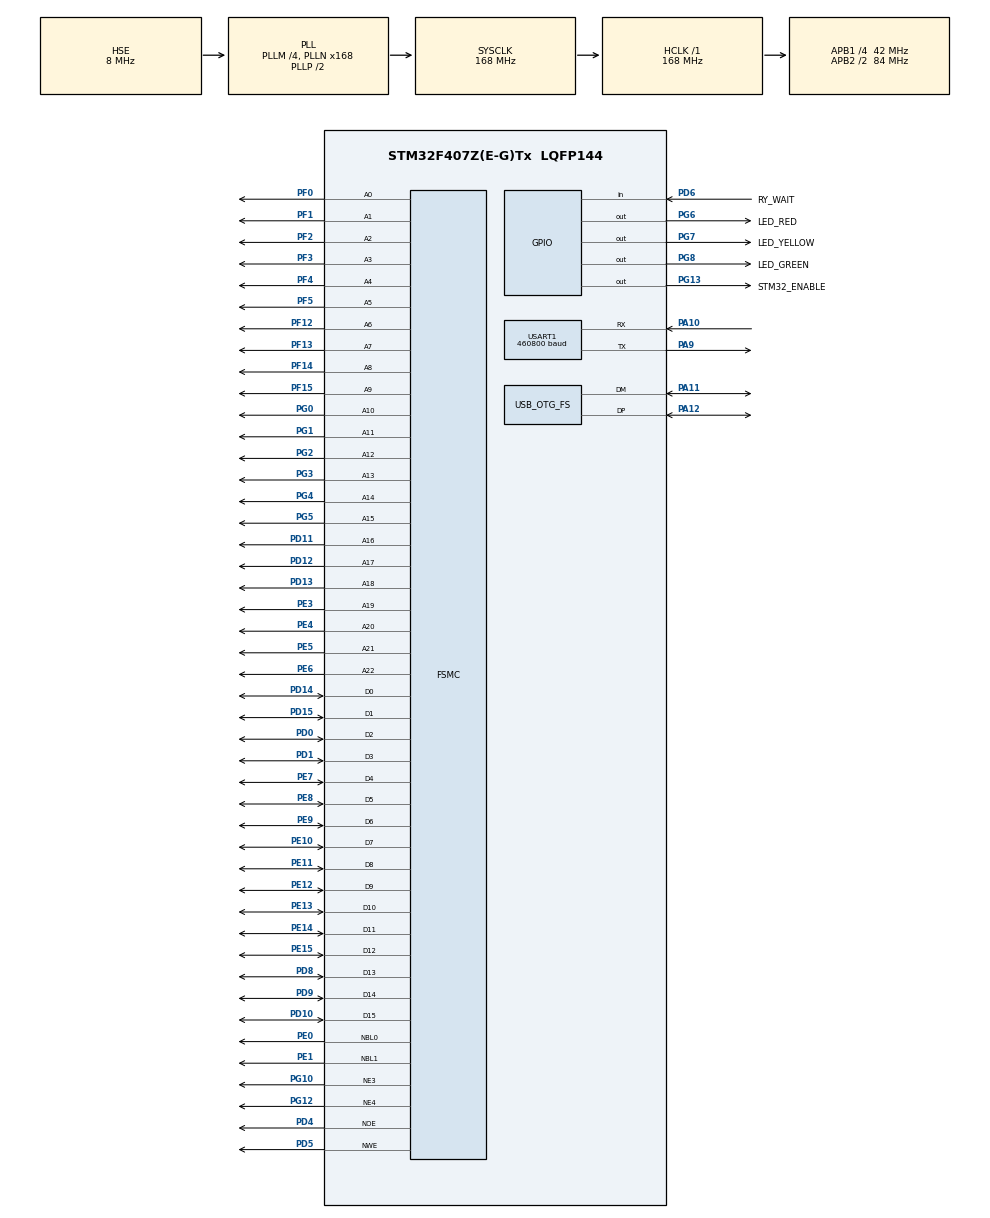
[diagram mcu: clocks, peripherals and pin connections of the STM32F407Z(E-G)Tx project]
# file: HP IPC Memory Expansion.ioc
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FSMC.WriteOperation3=FSMC_WRITE_OPERATION_ENABLE
FSMC.WriteOperation4=FSMC_WRITE_OPERATION_ENABLE
Mcu.Family=STM32F4
Mcu.Name=STM32F407Z(E-G)Tx
Mcu.Package=LQFP144
NVIC.OTG_FS_IRQn=true\:0\:0\:false\:false\:true\:false\:true
NVIC.PriorityGroup=NVIC_PRIORITYGROUP_4
NVIC.TIM1_UP_TIM10_IRQn=true\:15\:0\:false\:false\:true\:false\:true
NVIC.TimeBase=TIM1_UP_TIM10_IRQn
NVIC.TimeBaseIP=TIM1
PA10.Mode=Asynchronous
PA10.Signal=USART1_RX
PA11.Mode=Device_Only
PA11.Signal=USB_OTG_FS_DM
PA12.Mode=Device_Only
PA12.Signal=USB_OTG_FS_DP
PA13.Mode=Serial_Wire
PA13.Signal=SYS_JTMS-SWDIO
PA14.Mode=Serial_Wire
PA14.Signal=SYS_JTCK-SWCLK
PA9.Mode=Asynchronous
PA9.Signal=USART1_TX
PD0.Signal=FSMC_D2_DA2
PD1.Signal=FSMC_D3_DA3
PD10.Signal=FSMC_D15_DA15
PD11.Signal=FSMC_A16_CLE
PD12.Signal=FSMC_A17_ALE
PD13.Signal=FSMC_A18
PD14.Signal=FSMC_D0_DA0
PD15.Signal=FSMC_D1_DA1
PD4.Signal=FSMC_NOE
PD5.Signal=FSMC_NWE
PD6.GPIO_Label=RY_WAIT
PD6.Signal=GPIO_Input
PD8.Signal=FSMC_D13_DA13
PD9.Signal=FSMC_D14_DA14
PE0.Signal=FSMC_NBL0
PE1.Signal=FSMC_NBL1
PE10.Signal=FSMC_D7_DA7
PE11.Signal=FSMC_D8_DA8
PE12.Signal=FSMC_D9_DA9
PE13.Signal=FSMC_D10_DA10
PE14.Signal=FSMC_D11_DA11
PE15.Signal=FSMC_D12_DA12
PE3.Signal=FSMC_A19
PE4.Signal=FSMC_A20
PE5.Signal=FSMC_A21
PE6.Signal=FSMC_A22
PE7.Signal=FSMC_D4_DA4
PE8.Signal=FSMC_D5_DA5
PE9.Signal=FSMC_D6_DA6
PF0.Signal=FSMC_A0
PF1.Signal=FSMC_A1
PF12.Signal=FSMC_A6
PF13.Signal=FSMC_A7
PF14.Signal=FSMC_A8
PF15.Signal=FSMC_A9
PF2.Signal=FSMC_A2
PF3.Signal=FSMC_A3
PF4.Signal=FSMC_A4
PF5.Signal=FSMC_A5
PG0.Signal=FSMC_A10
PG1.Signal=FSMC_A11
PG10.Mode=NorPsramChipSelect3_3
PG10.Signal=FSMC_NE3
PG12.Mode=NorPsramChipSelect4_4
PG12.Signal=FSMC_NE4
PG13.GPIO_Label=STM32_ENABLE
PG13.Signal=GPIO_Output
PG2.Signal=FSMC_A12
PG3.Signal=FSMC_A13
PG4.Signal=FSMC_A14
PG5.Signal=FSMC_A15
PG6.GPIO_Label=LED_RED
PG6.GPIO_ModeDefaultOutputPP=GPIO_MODE_OUTPUT_OD
PG6.Signal=GPIO_Output
PG7.GPIO_Label=LED_YELLOW
PG7.GPIO_ModeDefaultOutputPP=GPIO_MODE_OUTPUT_OD
PG7.Signal=GPIO_Output
PG8.GPIO_Label=LED_GREEN
PG8.GPIO_ModeDefaultOutputPP=GPIO_MODE_OUTPUT_OD
PG8.Signal=GPIO_Output
PH0-OSC_IN.Mode=HSE-External-Oscillator
PH0-OSC_IN.Signal=RCC_OSC_IN
PH1-OSC_OUT.Mode=HSE-External-Oscillator
PH1-OSC_OUT.Signal=RCC_OSC_OUT
ProjectManager.HeapSize=0x200
ProjectManager.StackSize=0x400
ProjectManager.TargetToolchain=STM32CubeIDE
RCC.48MHZClocksFreq_Value=48000000
RCC.AHBFreq_Value=168000000
RCC.APB1CLKDivider=RCC_HCLK_DIV4
RCC.APB1Freq_Value=42000000
RCC.APB1TimFreq_Value=84000000
RCC.APB2CLKDivider=RCC_HCLK_DIV2
RCC.APB2Freq_Value=84000000
RCC.APB2TimFreq_Value=168000000
RCC.CortexFreq_Value=168000000
RCC.HCLKFreq_Value=168000000
RCC.HSE_VALUE=8000000
RCC.HSI_VALUE=16000000
RCC.LSE_VALUE=32768
RCC.PLLM=4
RCC.PLLN=168
RCC.PLLQ=7
RCC.SYSCLKFreq_VALUE=168000000
RCC.SYSCLKSource=RCC_SYSCLKSOURCE_PLLCLK
RCC.VCOOutputFreq_Value=336000000
SH.FSMC_A0.0=FSMC_A0,23b-a4
SH.FSMC_A0.1=FSMC_A0,23b-a3
SH.FSMC_A1.0=FSMC_A1,23b-a4
SH.FSMC_A1.1=FSMC_A1,23b-a3
SH.FSMC_A10.0=FSMC_A10,23b-a4
SH.FSMC_A10.1=FSMC_A10,23b-a3
SH.FSMC_A11.0=FSMC_A11,23b-a4
SH.FSMC_A11.1=FSMC_A11,23b-a3
SH.FSMC_A12.0=FSMC_A12,23b-a4
SH.FSMC_A12.1=FSMC_A12,23b-a3
SH.FSMC_A13.0=FSMC_A13,23b-a4
SH.FSMC_A13.1=FSMC_A13,23b-a3
SH.FSMC_A14.0=FSMC_A14,23b-a4
SH.FSMC_A14.1=FSMC_A14,23b-a3
SH.FSMC_A15.0=FSMC_A15,23b-a4
SH.FSMC_A15.1=FSMC_A15,23b-a3
SH.FSMC_A16_CLE.0=FSMC_A16,23b-a4
SH.FSMC_A16_CLE.1=FSMC_A16,23b-a3
SH.FSMC_A17_ALE.0=FSMC_A17,23b-a4
SH.FSMC_A17_ALE.1=FSMC_A17,23b-a3
SH.FSMC_A18.0=FSMC_A18,23b-a4
SH.FSMC_A18.1=FSMC_A18,23b-a3
SH.FSMC_A19.0=FSMC_A19,23b-a4
SH.FSMC_A19.1=FSMC_A19,23b-a3
SH.FSMC_A2.0=FSMC_A2,23b-a4
SH.FSMC_A2.1=FSMC_A2,23b-a3
SH.FSMC_A20.0=FSMC_A20,23b-a4
SH.FSMC_A20.1=FSMC_A20,23b-a3
SH.FSMC_A21.0=FSMC_A21,23b-a4
SH.FSMC_A21.1=FSMC_A21,23b-a3
SH.FSMC_A22.0=FSMC_A22,23b-a4
SH.FSMC_A22.1=FSMC_A22,23b-a3
SH.FSMC_A3.0=FSMC_A3,23b-a4
SH.FSMC_A3.1=FSMC_A3,23b-a3
SH.FSMC_A4.0=FSMC_A4,23b-a4
SH.FSMC_A4.1=FSMC_A4,23b-a3
SH.FSMC_A5.0=FSMC_A5,23b-a4
SH.FSMC_A5.1=FSMC_A5,23b-a3
SH.FSMC_A6.0=FSMC_A6,23b-a4
SH.FSMC_A6.1=FSMC_A6,23b-a3
SH.FSMC_A7.0=FSMC_A7,23b-a4
SH.FSMC_A7.1=FSMC_A7,23b-a3
SH.FSMC_A8.0=FSMC_A8,23b-a4
SH.FSMC_A8.1=FSMC_A8,23b-a3
SH.FSMC_A9.0=FSMC_A9,23b-a4
SH.FSMC_A9.1=FSMC_A9,23b-a3
SH.FSMC_D0_DA0.0=FSMC_D0,16b-d3
SH.FSMC_D0_DA0.1=FSMC_D0,16b-d4
SH.FSMC_D10_DA10.0=FSMC_D10,16b-d3
SH.FSMC_D10_DA10.1=FSMC_D10,16b-d4
SH.FSMC_D11_DA11.0=FSMC_D11,16b-d3
SH.FSMC_D11_DA11.1=FSMC_D11,16b-d4
SH.FSMC_D12_DA12.0=FSMC_D12,16b-d3
SH.FSMC_D12_DA12.1=FSMC_D12,16b-d4
SH.FSMC_D13_DA13.0=FSMC_D13,16b-d3
SH.FSMC_D13_DA13.1=FSMC_D13,16b-d4
SH.FSMC_D14_DA14.0=FSMC_D14,16b-d3
SH.FSMC_D14_DA14.1=FSMC_D14,16b-d4
SH.FSMC_D15_DA15.0=FSMC_D15,16b-d3
SH.FSMC_D15_DA15.1=FSMC_D15,16b-d4
SH.FSMC_D1_DA1.0=FSMC_D1,16b-d3
SH.FSMC_D1_DA1.1=FSMC_D1,16b-d4
SH.FSMC_D2_DA2.0=FSMC_D2,16b-d3
SH.FSMC_D2_DA2.1=FSMC_D2,16b-d4
SH.FSMC_D3_DA3.0=FSMC_D3,16b-d3
SH.FSMC_D3_DA3.1=FSMC_D3,16b-d4
SH.FSMC_D4_DA4.0=FSMC_D4,16b-d3
SH.FSMC_D4_DA4.1=FSMC_D4,16b-d4
SH.FSMC_D5_DA5.0=FSMC_D5,16b-d3
SH.FSMC_D5_DA5.1=FSMC_D5,16b-d4
SH.FSMC_D6_DA6.0=FSMC_D6,16b-d3
SH.FSMC_D6_DA6.1=FSMC_D6,16b-d4
SH.FSMC_D7_DA7.0=FSMC_D7,16b-d3
SH.FSMC_D7_DA7.1=FSMC_D7,16b-d4
SH.FSMC_D8_DA8.0=FSMC_D8,16b-d3
SH.FSMC_D8_DA8.1=FSMC_D8,16b-d4
SH.FSMC_D9_DA9.0=FSMC_D9,16b-d3
SH.FSMC_D9_DA9.1=FSMC_D9,16b-d4
SH.FSMC_NBL0.0=FSMC_NBL0,2ByteEnable3
SH.FSMC_NBL1.0=FSMC_NBL1,2ByteEnable3
SH.FSMC_NOE.0=FSMC_NOE,Sram3
SH.FSMC_NOE.1=FSMC_NOE,NorFlash4
SH.FSMC_NWE.0=FSMC_NWE,Sram3
SH.FSMC_NWE.1=FSMC_NWE,NorFlash4
USART1.BaudRate=460800
USART1.VirtualMode=VM_ASYNC
USB_DEVICE.CLASS_NAME_FS=MSC
USB_DEVICE.VirtualMode-MSC_FS=Msc
USB_DEVICE.VirtualModeFS=Msc_FS
USB_OTG_FS.VirtualMode=Device_Only
VP_SYS_VS_tim1.Mode=TIM1
VP_USB_DEVICE_VS_USB_DEVICE_MSC_FS.Mode=MSC_FS
board=custom

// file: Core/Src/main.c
/* USER CODE BEGIN Header */
/**
  ******************************************************************************
  * @file           : main.c
  * @brief          : Main program body
  ******************************************************************************
  * @attention
  *
  * <h2><center>&copy; Copyright (c) 2021 STMicroelectronics.
  * All rights reserved.</center></h2>
  *
  * This software component is licensed by ST under BSD 3-Clause license,
  * the "License"; You may not use this file except in compliance with the
  * License. You may obtain a copy of the License at:
  *                        opensource.org/licenses/BSD-3-Clause
  *
  ******************************************************************************
  */
/* USER CODE END Header */
#include "main.h"
#include "usart.h"
#include "usb_device.h"
#include "gpio.h"
#include "fsmc.h"

/* USER CODE BEGIN PV */

extern UART_HandleTypeDef huart1;

int count=0;

/* USER CODE END PV */

void SystemClock_Config(void);
/* USER CODE BEGIN PFP */

void setYellow(void);

void clearYellow(void);

void setRed(void);

void clearRed(void);

/* USER CODE END PFP */

/* USER CODE BEGIN 0 */

void blinkGreenTwice() {
	HAL_GPIO_WritePin (LED_GREEN_GPIO_Port, LED_GREEN_Pin, 0);
	HAL_Delay(500);
	HAL_GPIO_WritePin (LED_GREEN_GPIO_Port, LED_GREEN_Pin, 1);
	HAL_Delay(200);
	HAL_GPIO_WritePin (LED_GREEN_GPIO_Port, LED_GREEN_Pin, 0);
	HAL_Delay(500);
	HAL_GPIO_WritePin (LED_GREEN_GPIO_Port, LED_GREEN_Pin, 1);
	HAL_Delay(200);
}

void blinkRedOnce() {
	HAL_GPIO_WritePin (LED_RED_GPIO_Port, LED_RED_Pin, 0);
	HAL_Delay(250);
	HAL_GPIO_WritePin (LED_RED_GPIO_Port, LED_RED_Pin, 1);
	HAL_Delay(200);
}

void blinkYellowOnce() {
	HAL_GPIO_WritePin (LED_YELLOW_GPIO_Port, LED_YELLOW_Pin, 0);
	HAL_Delay(250);
	HAL_GPIO_WritePin (LED_YELLOW_GPIO_Port, LED_YELLOW_Pin, 1);
	HAL_Delay(200);
}

void putStr (char * str) {
	HAL_UART_Transmit(&huart1, (uint8_t *) str, strlen(str), HAL_MAX_DELAY);
}

/* USER CODE END 0 */

int main(void)
{
  /* USER CODE BEGIN 1 */

  //char buf [256];

  /* USER CODE END 1 */

  /* MCU Configuration--------------------------------------------------------*/

  /* Reset of all peripherals, Initializes the Flash interface and the Systick. */
  HAL_Init();

  /* Configure the system clock */
  SystemClock_Config();

  /* Initialize all configured peripherals */
  MX_GPIO_Init();
  MX_FSMC_Init();
  MX_USB_DEVICE_Init();
  MX_USART1_UART_Init();

  //HAL_GPIO_WritePin (STM32_ENABLE_GPIO_Port, STM32_ENABLE_Pin, 1);
  /* USER CODE BEGIN 2 */
  clearRed();
  clearYellow();

  /* USER CODE END 2 */

  /* Infinite loop */
  while (1)
  {

    /* USER CODE BEGIN 3 */
	  //snprintf(buf, 256, "HP IPC MEM EXPANSION TEST %d\n\r", count++);
	  //putStr(buf);
	  blinkGreenTwice();
  }
  /* USER CODE END 3 */
}

void SystemClock_Config(void)
{
  RCC_OscInitTypeDef RCC_OscInitStruct = {0};
  RCC_ClkInitTypeDef RCC_ClkInitStruct = {0};

  /** Configure the main internal regulator output voltage
  */
  __HAL_RCC_PWR_CLK_ENABLE();
  __HAL_PWR_VOLTAGESCALING_CONFIG(PWR_REGULATOR_VOLTAGE_SCALE1);
  /** Initializes the RCC Oscillators according to the specified parameters
  * in the RCC_OscInitTypeDef structure.
  */
  RCC_OscInitStruct.OscillatorType = RCC_OSCILLATORTYPE_HSE;
  RCC_OscInitStruct.HSEState = RCC_HSE_ON;
  RCC_OscInitStruct.PLL.PLLState = RCC_PLL_ON;
  RCC_OscInitStruct.PLL.PLLSource = RCC_PLLSOURCE_HSE;
  RCC_OscInitStruct.PLL.PLLM = 4;
  RCC_OscInitStruct.PLL.PLLN = 168;
  RCC_OscInitStruct.PLL.PLLP = RCC_PLLP_DIV2;
  RCC_OscInitStruct.PLL.PLLQ = 7;
  if (HAL_RCC_OscConfig(&RCC_OscInitStruct) != HAL_OK)
  {
    Error_Handler();
  }
  /** Initializes the CPU, AHB and APB buses clocks
  */
  RCC_ClkInitStruct.ClockType = RCC_CLOCKTYPE_HCLK|RCC_CLOCKTYPE_SYSCLK
                              |RCC_CLOCKTYPE_PCLK1|RCC_CLOCKTYPE_PCLK2;
  RCC_ClkInitStruct.SYSCLKSource = RCC_SYSCLKSOURCE_PLLCLK;
  RCC_ClkInitStruct.AHBCLKDivider = RCC_SYSCLK_DIV1;
  RCC_ClkInitStruct.APB1CLKDivider = RCC_HCLK_DIV4;
  RCC_ClkInitStruct.APB2CLKDivider = RCC_HCLK_DIV2;

  if (HAL_RCC_ClockConfig(&RCC_ClkInitStruct, FLASH_LATENCY_5) != HAL_OK)
  {
    Error_Handler();
  }
}

void HAL_TIM_PeriodElapsedCallback(TIM_HandleTypeDef *htim)
{
  if (htim->Instance == TIM1) {
    HAL_IncTick();
  }
}

void Error_Handler(void)
{
  __disable_irq();
  while (1)
  {
  }
}

/************************ (C) COPYRIGHT STMicroelectronics *****END OF FILE****/
